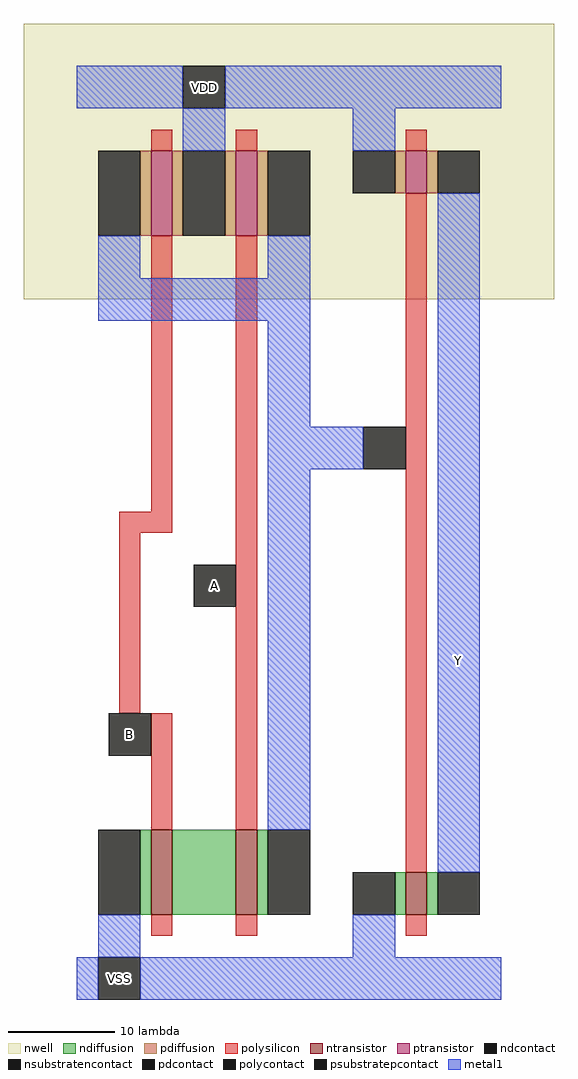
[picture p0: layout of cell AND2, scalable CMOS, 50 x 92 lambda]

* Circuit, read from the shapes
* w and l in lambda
.subckt AND2 A B VDD VSS Y
M1 n1 B VSS VSS nfet w=8 l=2
M2 n2 A n1 VSS nfet w=8 l=2
M3 Y n2 VSS VSS nfet w=4 l=2
M4 VDD B n2 VDD pfet w=8 l=2
M5 n2 A VDD VDD pfet w=8 l=2
M6 Y n2 VDD VDD pfet w=4 l=2
.ends

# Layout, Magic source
magic
tech scmos
<< nwell >>
rect -5 66 45 92
<< ntransistor >>
rect 7 8 9 16
rect 15 8 17 16
rect 31 8 33 12
<< ptransistor >>
rect 7 72 9 80
rect 15 72 17 80
rect 31 76 33 80
<< ndiffusion >>
rect 6 8 7 16
rect 9 8 15 16
rect 17 8 18 16
rect 30 8 31 12
rect 33 8 34 12
<< pdiffusion >>
rect 6 72 7 80
rect 9 72 10 80
rect 14 72 15 80
rect 17 72 18 80
rect 30 76 31 80
rect 33 76 34 80
<< ndcontact >>
rect 2 8 6 16
rect 18 8 22 16
rect 26 8 30 12
rect 34 8 38 12
<< pdcontact >>
rect 2 72 6 80
rect 10 72 14 80
rect 18 72 22 80
rect 26 76 30 80
rect 34 76 38 80
<< psubstratepcontact >>
rect 2 0 6 4
<< nsubstratencontact >>
rect 10 84 14 88
<< polysilicon >>
rect 7 80 9 82
rect 15 80 17 82
rect 31 80 33 82
rect 7 46 9 72
rect 4 44 9 46
rect 4 27 6 44
rect 7 16 9 27
rect 15 16 17 72
rect 31 12 33 76
rect 7 6 9 8
rect 15 6 17 8
rect 31 6 33 8
<< polycontact >>
rect 11 37 15 41
rect 3 23 7 27
rect 27 50 31 54
<< metal1 >>
rect 0 84 10 88
rect 14 84 40 88
rect 10 80 14 84
rect 26 80 30 84
rect 2 68 6 72
rect 18 68 22 72
rect 2 64 22 68
rect 18 54 22 64
rect 18 50 27 54
rect 18 16 22 50
rect 34 12 38 76
rect 2 4 6 8
rect 26 4 30 8
rect 0 0 2 4
rect 6 0 40 4
<< labels >>
rlabel psubstratepcontact 4 2 4 2 1 VSS
rlabel nsubstratencontact 12 86 12 86 1 VDD
rlabel polycontact 5 25 5 25 1 B
rlabel polycontact 13 39 13 39 1 A
rlabel metal1 36 32 36 32 1 Y
<< end >>
